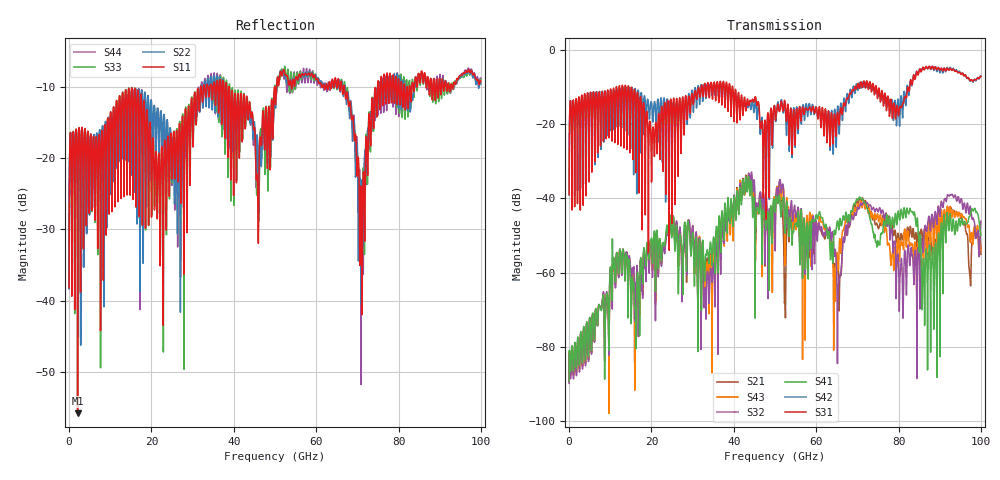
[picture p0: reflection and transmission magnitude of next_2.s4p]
# Hz S RI R 50
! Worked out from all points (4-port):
!   10000 points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, 10 MHz to 100 GHz, reference 50 ohm
!   strongest paths, dB at 10 MHz, 25.01 GHz, 50.01 GHz, 75.01 GHz, 100 GHz:
!     S31: -38.9, -32.6, -16.8, -11.7, -7.0
!     S42: -39.1, -23.6, -16.0, -11.7, -6.9
!     S41: -89.3, -49.9, -42.4, -51.8, -49.9
!     S32: -89.9, -48.8, -48.4, -43.6, -46.1
!     S43: -89.6, -49.3, -42.1, -44.8, -54.2
!     S21: -89.6, -49.2, -47.6, -47.8, -55.1
!   lowest |S11| = -55.7 dB at 2.07 GHz (marker M1), VSWR 1.00, Z = 50.1 + j0.152 ohm
!   |S11| at or under -10 dB: start of sweep to 31.93 GHz; 38.88 GHz to 49.89 GHz (11.01 GHz wide, 24.8 % of centre); 66.86 GHz to 74.94 GHz (8.072 GHz wide, 11.4 % of centre)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
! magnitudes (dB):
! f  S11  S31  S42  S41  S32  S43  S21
! 10 MHz  -38.2  -38.9  -39.1  -89.3  -89.9  -89.6  -89.6
! 2.07 GHz  -55.7  -28.3  -37.9  -77.8  -78.9  -78.4  -78.4
! 33.1 GHz  -11.0  -9.6  -11.4  -56.2  -64.6  -60.5  -57.8
! 43.27 GHz  -12.2  -13.2  -14.9  -38.0  -36.7  -37.7  -37.7
! 65.48 GHz  -9.2  -19.8  -19.2  -48.4  -62.6  -56.8  -62.5
! 71.17 GHz  -40.6  -10.0  -8.7  -39.9  -41.6  -42.5  -39.9
! 100 GHz  -9.3  -7.0  -6.9  -49.9  -46.1  -54.2  -55.1
